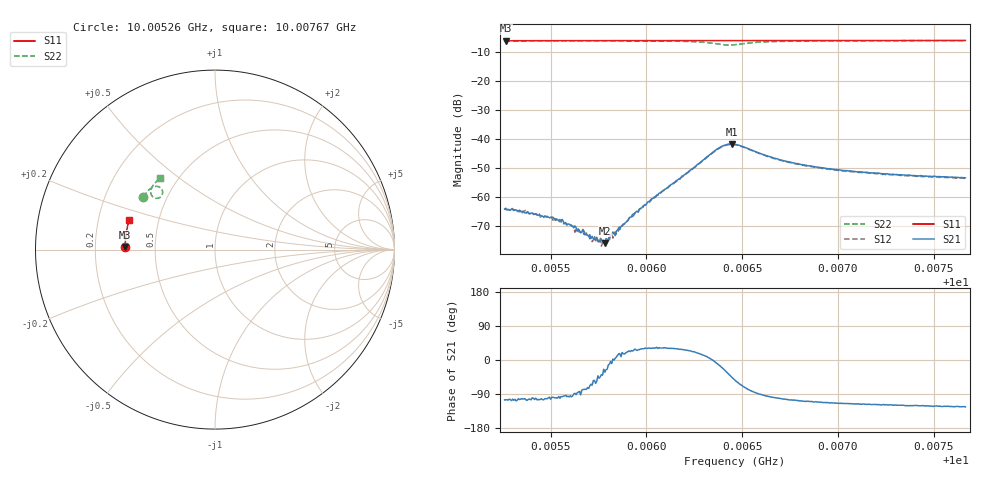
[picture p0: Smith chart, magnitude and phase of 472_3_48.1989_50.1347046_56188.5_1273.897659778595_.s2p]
#  HZ  S  RI  R  50.00
! Rohde & Schwarz Vector Network Analyzer
! Rohde-Schwarz,ZNB20-2Port,1311601062101988,3.16
! Created: UTC 3/20/2024, 11:57:12 AM
! freq[Hz]  re:S11  im:S11  re:S21  im:S21  re:S12  im:S12  re:S22  im:S22
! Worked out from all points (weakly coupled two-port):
!   401 points, 10.00526 GHz to 10.00767 GHz, reference 50 ohm
!   highest |S21| = -41.72 dB at 10.00644 GHz (marker M1); lowest = -76.0 dB at 10.00578 GHz (marker M2)
!   lowest |S11| = -6.0 dB at 10.00527 GHz (marker M3), VSWR 3.01, Z = 16.6 + j0.628 ohm
!   |S11| at or under -10 dB: nowhere
!   |S22| runs from -7.5 to -6.0 dB; largest |S21 - S12| = 0.0005
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1.000526e10  -0.5007 0.0138  -0.00016 -0.000593  -0.00012 -0.000603  -0.4 0.2926
1.0005266e10  -0.5006 0.0141  -0.000166 -0.000612  -0.000144 -0.000587  -0.3997 0.2929
1.0005494e10  -0.5005 0.029  -6.27e-05 -0.000429  -5.32e-05 -0.000442  -0.3902 0.3063
1.0005554e10  -0.5004 0.0329  -4.36e-05 -0.000383  -3.57e-05 -0.000364  -0.3877 0.31
1.0005609e10  -0.5002 0.0366  -3.98e-05 -0.000314  2.43e-06 -0.000327  -0.3851 0.3133
1.0005639e10  -0.5001 0.0386  1.51e-05 -0.000258  3.16e-06 -0.000252  -0.3838 0.3149
1.0005663e10  -0.5 0.0399  4.37e-05 -0.000242  4.89e-05 -0.000262  -0.3826 0.3166
1.0005711e10  -0.4999 0.0432  8.38e-05 -0.000171  9.3e-05 -0.000169  -0.3802 0.3195
1.0005747e10  -0.4997 0.0456  0.000125 -0.000112  0.000111 -0.000147  -0.3781 0.3217
1.0005777e10  -0.4996 0.0475  0.000161 -7.29e-05  0.00013 -0.000121  -0.3766 0.3236
1.0005783e10  -0.4996 0.0478  0.000134 -8.49e-05  0.000138 -9.16e-05  -0.3761 0.324
1.0005837e10  -0.4994 0.0514  0.000213 1.6e-05  0.000246 -3.3e-05  -0.3731 0.3275
1.0005909e10  -0.499 0.056  0.000382 0.000172  0.000387 0.000191  -0.3685 0.3321
1.0006066e10  -0.4981 0.0663  0.00097 0.000619  0.000891 0.000628  -0.3557 0.3428
1.0006366e10  -0.495 0.0855  0.00654 -0.000936  0.00641 -0.000536  -0.294 0.3307
1.0006408e10  -0.4947 0.0878  0.00698 -0.00349  0.00701 -0.00309  -0.2938 0.3069
1.0006444e10  -0.4943 0.0899  0.00582 -0.00578  0.006 -0.00535  -0.3081 0.2899
1.0006463e10  -0.4941 0.091  0.00483 -0.00648  0.0051 -0.00611  -0.3181 0.2861
1.0006661e10  -0.4926 0.1036  -0.000718 -0.00469  -0.000426 -0.00462  -0.3581 0.325
1.0006865e10  -0.4903 0.1168  -0.00114 -0.00318  -0.000994 -0.00316  -0.3499 0.3498
1.0007268e10  -0.4844 0.1421  -0.00117 -0.00215  -0.00105 -0.00217  -0.3288 0.3768
1.0007665e10  -0.4774 0.1668  -0.00118 -0.00178  -0.00106 -0.00178  -0.3086 0.3969
